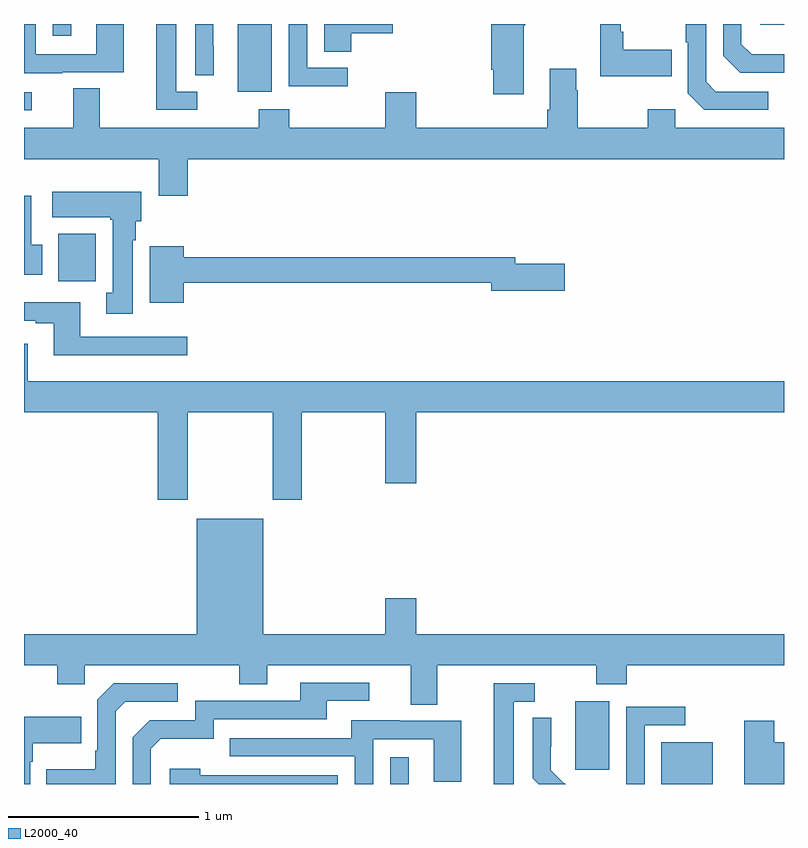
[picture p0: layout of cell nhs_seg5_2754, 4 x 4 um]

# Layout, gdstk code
import gdstk
lib = gdstk.Library(unit=1e-6, precision=1e-09)
def R(c, l, rs):  # rectangles x0, y0, x1, y1
    for r in rs: c.add(gdstk.rectangle(r[:2], r[2:], *l))
def P(c, l, *ps):  # polygons
    for p in ps: c.add(gdstk.Polygon(p, *l))
L2000_40 = (2000, 40)

nhs_seg5_2754 = lib.new_cell('nhs_seg5_2754')
R(nhs_seg5_2754, L2000_40, [(272.928,858.799,273.025,858.94), (274.355,858.799,274.624,859.018), (273.902,858.873,274.081,859.234), (271.181,861.444,271.377,861.694), (271,862.344,271.042,862.44), (272.126,862.442,272.305,862.799), (271.152,862.737,271.249,862.799), (274.875,862.796,275,862.799)])
P(nhs_seg5_2754, L2000_40, [(271.912,862.443),(271.801,862.443),(271.801,862.799),(271.697,862.799),(271.697,862.347),(271.912,862.347)],
  [(272.723,862.75),(272.941,862.75),(272.941,862.799),(272.579,862.799),(272.579,862.654),(272.723,862.654)],
  [(272.704,862.569),(272.49,862.569),(272.49,862.799),(272.394,862.799),(272.394,862.471),(272.704,862.471)],
  [(271.998,862.682),(271.997,862.682),(271.997,862.799),(271.902,862.799),(271.902,862.528),(271.998,862.528)],
  [(271.201,862.545),(271.525,862.545),(271.525,862.799),(271.38,862.799),(271.38,862.641),(271.062,862.641),(271.062,862.799),(271,862.799),(271,862.541),(271.201,862.541)],
  [(274.918,862.443),(274.641,862.443),(274.59,862.494),(274.59,862.799),(274.482,862.799),(274.482,862.703),(274.494,862.703),(274.494,862.434),(274.581,862.347),(274.918,862.347)],
  [(274.409,862.663),(274.153,862.663),(274.153,862.759),(274.14,862.759),(274.14,862.799),(274.032,862.799),(274.032,862.523),(274.409,862.523)],
  [(273.631,862.793),(273.639,862.793),(273.639,862.799),(273.458,862.799),(273.458,862.557),(273.469,862.557),(273.469,862.428),(273.631,862.428)],
  [(275,862.639),(274.829,862.639),(274.776,862.692),(274.776,862.799),(274.68,862.799),(274.68,862.632),(274.77,862.542),(275,862.542)],
  [(271.862,862.088),(275,862.088),(275,862.252),(274.428,862.252),(274.428,862.351),(274.282,862.351),(274.282,862.252),(273.915,862.252),(273.915,862.451),(273.907,862.451),(273.907,862.564),(273.767,862.564),(273.767,862.348),(273.755,862.348),(273.755,862.252),(273.064,862.252),(273.064,862.441),(272.9,862.441),(272.9,862.252),(272.396,862.252),(272.396,862.351),(272.236,862.351),(272.236,862.252),(271.399,862.252),(271.399,862.46),(271.259,862.46),(271.259,862.252),(271,862.252),(271,862.088),(271.709,862.088),(271.709,861.894),(271.862,861.894)],
  [(271.573,861.662),(271.588,861.662),(271.588,861.762),(271.618,861.762),(271.618,861.916),(271.149,861.916),(271.149,861.782),(271.453,861.782),(271.453,861.769),(271.466,861.769),(271.466,861.385),(271.433,861.385),(271.433,861.273),(271.573,861.273)],
  [(271.096,861.636),(271.039,861.636),(271.039,861.895),(271,861.895),(271,861.48),(271.096,861.48)],
  [(271.84,861.436),(273.458,861.436),(273.458,861.394),(273.847,861.394),(273.847,861.536),(273.586,861.536),(273.586,861.572),(271.84,861.572),(271.84,861.628),(271.661,861.628),(271.661,861.332),(271.84,861.332)],
  [(271.858,861.153),(271.297,861.153),(271.297,861.334),(271,861.334),(271,861.237),(271.061,861.237),(271.061,861.225),(271.157,861.225),(271.157,861.056),(271.858,861.056)],
  [(271.863,860.756),(272.308,860.756),(272.308,860.295),(272.463,860.295),(272.463,860.756),(272.9,860.756),(272.9,860.382),(273.064,860.382),(273.064,860.756),(275,860.756),(275,860.92),(271.021,860.92),(271.021,861.115),(271,861.115),(271,860.756),(271.703,860.756),(271.703,860.295),(271.863,860.295)],
  [(273.064,859.777),(272.9,859.777),(272.9,859.588),(272.26,859.588),(272.26,860.194),(271.91,860.194),(271.91,859.588),(271,859.588),(271,859.424),(271.174,859.424),(271.174,859.325),(271.32,859.325),(271.32,859.424),(272.134,859.424),(272.134,859.325),(272.281,859.325),(272.281,859.424),(273.035,859.424),(273.035,859.216),(273.175,859.216),(273.175,859.424),(274.012,859.424),(274.012,859.325),(274.172,859.325),(274.172,859.424),(275,859.424),(275,859.588),(273.064,859.588)],
  [(271.668,858.984),(271.721,859.037),(271.998,859.037),(271.998,859.14),(272.593,859.14),(272.593,859.236),(272.818,859.236),(272.818,859.332),(272.453,859.332),(272.453,859.236),(271.902,859.236),(271.902,859.134),(271.662,859.134),(271.572,859.044),(271.572,858.799),(271.668,858.799)],
  [(271.482,859.182),(271.533,859.233),(271.81,859.233),(271.81,859.329),(271.473,859.329),(271.386,859.242),(271.386,858.973),(271.374,858.973),(271.374,858.877),(271.117,858.877),(271.117,858.799),(271.482,858.799)],
  [(273.577,859.233),(273.688,859.233),(273.688,859.329),(273.473,859.329),(273.473,858.799),(273.577,858.799)],
  [(274.266,859.107),(274.48,859.107),(274.48,859.206),(274.17,859.206),(274.17,858.799),(274.266,858.799)],
  [(271.032,858.917),(271.045,858.917),(271.045,859.013),(271.301,859.013),(271.301,859.153),(271,859.153),(271,858.799),(271.032,858.799)],
  [(273.846,858.804),(273.843,858.801),(273.773,858.872),(273.773,858.994),(273.774,858.994),(273.774,859.148),(273.678,859.148),(273.678,858.83),(273.709,858.799),(273.851,858.799)],
  [(272.838,859.035),(273.156,859.035),(273.156,858.811),(273.301,858.811),(273.301,859.131),(272.977,859.131),(272.977,859.135),(272.723,859.135),(272.723,859.041),(272.083,859.041),(272.083,858.945),(272.742,858.945),(272.742,858.799),(272.838,858.799)],
  [(275,859.018),(274.948,859.018),(274.948,859.132),(274.79,859.132),(274.79,858.799),(275,858.799)],
  [(272.652,858.846),(271.928,858.846),(271.928,858.88),(271.767,858.88),(271.767,858.799),(272.652,858.799)])

lib.write_gds('nhs_seg5_2754.gds')
